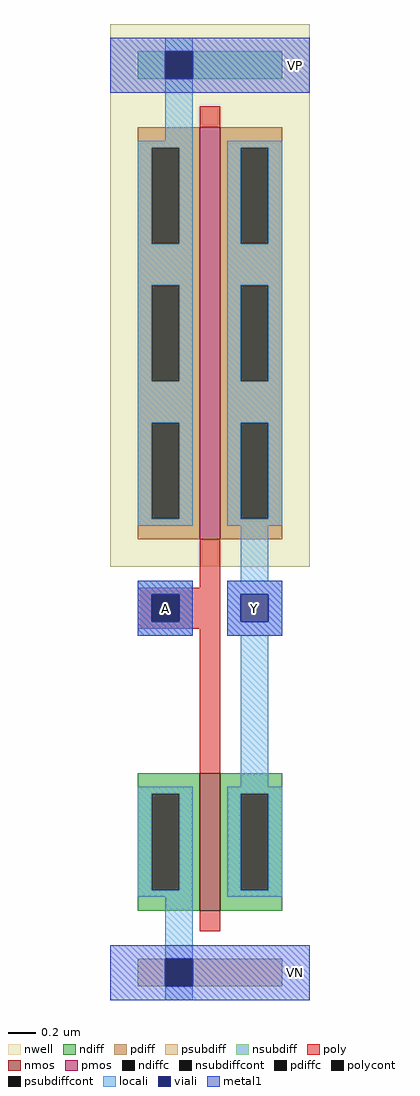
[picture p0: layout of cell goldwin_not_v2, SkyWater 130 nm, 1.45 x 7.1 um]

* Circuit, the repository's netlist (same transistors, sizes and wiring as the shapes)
* NGSPICE file created from goldwin_not_v2.ext - technology: sky130A

.subckt goldwin_not_v2 A Y VP VN
X0 Y A VN VN sky130_fd_pr__nfet_01v8 ad=0.45 pd=2.9 as=0.45 ps=2.9 w=1 l=0.15
X1 Y A VP VP sky130_fd_pr__pfet_01v8 ad=1.35 pd=6.9 as=1.35 ps=6.9 w=3 l=0.15
.ends

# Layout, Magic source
magic
tech sky130A
<< nwell >>
rect -65 250 80 645
<< nmos >>
rect 0 0 15 100
<< pmos >>
rect 0 270 15 570
<< ndiff >>
rect -45 85 0 100
rect -45 15 -35 85
rect -15 15 0 85
rect -45 0 0 15
rect 15 85 60 100
rect 15 15 30 85
rect 50 15 60 85
rect 15 0 60 15
<< pdiff >>
rect -45 555 0 570
rect -45 485 -35 555
rect -15 485 0 555
rect -45 455 0 485
rect -45 385 -35 455
rect -15 385 0 455
rect -45 355 0 385
rect -45 285 -35 355
rect -15 285 0 355
rect -45 270 0 285
rect 15 555 60 570
rect 15 485 30 555
rect 50 485 60 555
rect 15 455 60 485
rect 15 385 30 455
rect 50 385 60 455
rect 15 355 60 385
rect 15 285 30 355
rect 50 285 60 355
rect 15 270 60 285
<< ndiffc >>
rect -35 15 -15 85
rect 30 15 50 85
<< pdiffc >>
rect -35 485 -15 555
rect -35 385 -15 455
rect -35 285 -15 355
rect 30 485 50 555
rect 30 385 50 455
rect 30 285 50 355
<< psubdiff >>
rect -45 -55 -25 -35
rect -5 -55 60 -35
<< nsubdiff >>
rect -45 605 -25 625
rect -5 605 60 625
<< psubdiffcont >>
rect -25 -55 -5 -35
<< nsubdiffcont >>
rect -25 605 -5 625
<< poly >>
rect 0 570 15 585
rect 0 235 15 270
rect -45 230 15 235
rect -45 210 -35 230
rect -15 210 15 230
rect -45 205 15 210
rect 0 100 15 205
rect 0 -15 15 0
<< polycont >>
rect -35 210 -15 230
<< locali >>
rect -25 625 -5 635
rect -25 560 -5 605
rect -45 555 -5 560
rect -45 485 -35 555
rect -15 485 -5 555
rect -45 455 -5 485
rect -45 385 -35 455
rect -15 385 -5 455
rect -45 355 -5 385
rect -45 285 -35 355
rect -15 285 -5 355
rect -45 280 -5 285
rect 20 555 60 560
rect 20 485 30 555
rect 50 485 60 555
rect 20 455 60 485
rect 20 385 30 455
rect 50 385 60 455
rect 20 355 60 385
rect 20 285 30 355
rect 50 285 60 355
rect 20 280 60 285
rect 30 240 50 280
rect -45 230 -5 240
rect -45 210 -35 230
rect -15 210 -5 230
rect -45 200 -5 210
rect 20 230 60 240
rect 20 210 30 230
rect 50 210 60 230
rect 20 200 60 210
rect 30 90 50 200
rect -45 85 -5 90
rect -45 15 -35 85
rect -15 15 -5 85
rect -45 10 -5 15
rect 20 85 60 90
rect 20 15 30 85
rect 50 15 60 85
rect 20 10 60 15
rect -25 -35 -5 10
rect -25 -65 -5 -55
<< viali >>
rect -25 605 -5 625
rect -35 210 -15 230
rect 30 210 50 230
rect -25 -55 -5 -35
<< metal1 >>
rect -65 625 80 635
rect -65 605 -25 625
rect -5 605 80 625
rect -65 595 80 605
rect -45 230 -5 240
rect -45 210 -35 230
rect -15 210 -5 230
rect -45 200 -5 210
rect 20 230 60 240
rect 20 210 30 230
rect 50 210 60 230
rect 20 200 60 210
rect -65 -35 80 -25
rect -65 -55 -25 -35
rect -5 -55 80 -35
rect -65 -65 80 -55
<< labels >>
flabel metal1 60 -65 80 -25 1 FreeSans 200 0 0 0 VN
port 4 n
flabel metal1 60 595 80 635 1 FreeSans 200 0 0 0 VP
port 3 n
flabel metal1 20 200 60 240 1 FreeSans 200 0 0 -120 Y
port 2 n
flabel metal1 -45 200 -5 240 1 FreeSans 200 0 0 -120 A
port 1 n
<< end >>
